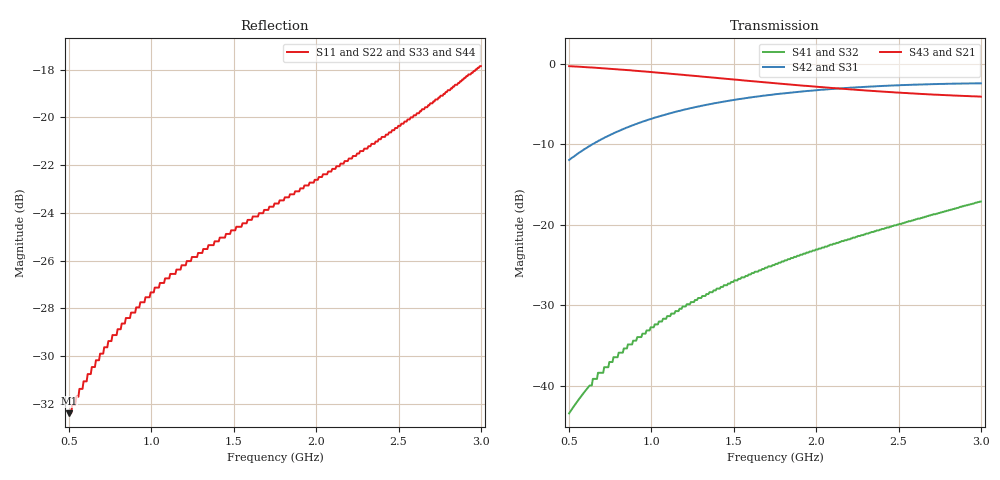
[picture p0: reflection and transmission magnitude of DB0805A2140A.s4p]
!	AVX THIN FILM OPERATION
!	0805 SIZE 3dB 90deg COUPLER P/N DB0805A2140AWTR
!	Created March 23 2003
!	Network Analyzer HP8720E S.07.64: Feb23, 2000 Serial No.US39172382
#	MHZ	S	MA	R	50
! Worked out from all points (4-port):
!   400 points, 500 MHz to 3 GHz, reference 50 ohm
!   strongest paths, dB at 500 MHz, 1.127 GHz, 1.753 GHz, 2.38 GHz, 3 GHz:
!     S43: -0.3, -1.3, -2.4, -3.4, -4.1
!     S21: -0.3, -1.3, -2.4, -3.4, -4.1
!     S42: -12.0, -6.1, -3.8, -2.8, -2.4
!     S31: -12.0, -6.1, -3.8, -2.8, -2.4
!     S41: -43.5, -31.1, -24.9, -20.7, -17.1
!     S32: -43.5, -31.1, -24.9, -20.7, -17.1
!   lowest |S11| = -32.4 dB at 500 MHz (marker M1), VSWR 1.05, Z = 50.8 + j2.3 ohm
!   |S11| at or under -10 dB: start of sweep to end of sweep
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500  0.024 70.5  0.965 -17.1  0.252 72.9  0.00672 135.0
     0.965 -17.1  0.024 70.5  0.00672 135.0  0.252 72.9
     0.252 72.9  0.00672 135.0  0.024 70.5  0.965 -17.1
     0.00672 135.0  0.252 72.9  0.965 -17.1  0.024 70.5
637.845  0.03 67.9  0.947 -21.5  0.314 68.5  0.01 133.5
         0.947 -21.5  0.03 67.9  0.01 133.5  0.314 68.5
         0.314 68.5  0.01 133.5  0.03 67.9  0.947 -21.5
         0.01 133.5  0.314 68.5  0.947 -21.5  0.03 67.9
644.11  0.03 67.8  0.946 -21.7  0.317 68.3  0.011 133.4
        0.946 -21.7  0.03 67.8  0.011 133.4  0.317 68.3
        0.317 68.3  0.011 133.4  0.03 67.8  0.946 -21.7
        0.011 133.4  0.317 68.3  0.946 -21.7  0.03 67.8
769.424  0.035 65.5  0.926 -25.6  0.369 64.4  0.015 131.0
         0.926 -25.6  0.035 65.5  0.015 131.0  0.369 64.4
         0.369 64.4  0.015 131.0  0.035 65.5  0.926 -25.6
         0.015 131.0  0.369 64.4  0.926 -25.6  0.035 65.5
1283.208  0.052 58.3  0.836 -39.6  0.542 50.5  0.035 118.5
          0.836 -39.6  0.052 58.3  0.035 118.5  0.542 50.5
          0.542 50.5  0.035 118.5  0.052 58.3  0.836 -39.6
          0.035 118.5  0.542 50.5  0.836 -39.6  0.052 58.3
2141.604  0.079 54.6  0.701 -57.5  0.702 33.0  0.078 99.9
          0.701 -57.5  0.079 54.6  0.078 99.9  0.702 33.0
          0.702 33.0  0.078 99.9  0.079 54.6  0.701 -57.5
          0.078 99.9  0.702 33.0  0.701 -57.5  0.079 54.6
3000  0.128 53.2  0.624 -71.9  0.755 20.0  0.139 83.8
      0.624 -71.9  0.128 53.2  0.139 83.8  0.755 20.0
      0.755 20.0  0.139 83.8  0.128 53.2  0.624 -71.9
      0.139 83.8  0.755 20.0  0.624 -71.9  0.128 53.2
